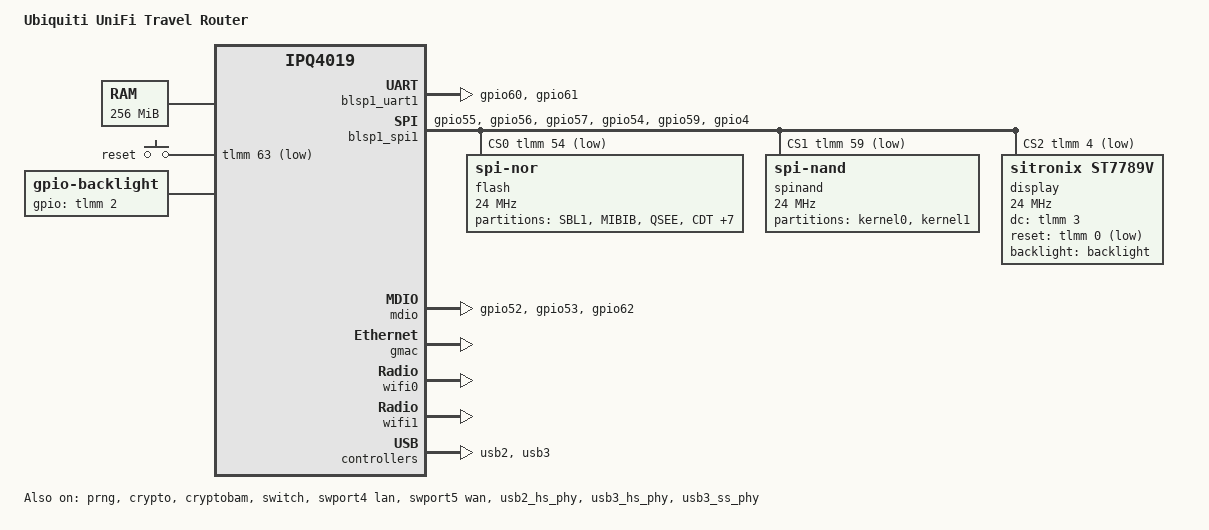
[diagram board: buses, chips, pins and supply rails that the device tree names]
// SPDX-License-Identifier: GPL-2.0-only OR MIT

#include "qcom-ipq4019.dtsi"
#include <dt-bindings/gpio/gpio.h>
#include <dt-bindings/input/input.h>
#include <dt-bindings/leds/common.h>
#include <dt-bindings/soc/qcom,tcsr.h>

/ {
	model = "Ubiquiti UniFi Travel Router";
	compatible = "ubnt,utr", "qcom,ipq4019";

	memory {
		device_type = "memory";
		reg = <0x80000000 0x10000000>;
	};

	chosen {
		bootargs-append = " ubi.mtd=kernel1 root=/dev/ubiblock0_1 rootfstype=squashfs clk_ignore_unused";
	};

	aliases {
		ethernet0 = &gmac;
	};

	soc {
		tcsr@1949000 {
			compatible = "qcom,tcsr";
			reg = <0x1949000 0x100>;
			qcom,wifi_glb_cfg = <TCSR_WIFI_GLB_CFG>;
		};

		ess_tcsr@1953000 {
			compatible = "qcom,tcsr";
			reg = <0x1953000 0x1000>;
			qcom,ess-interface-select = <TCSR_ESS_PSGMII>;
		};

		tcsr@1957000 {
			compatible = "qcom,tcsr";
			reg = <0x1957000 0x100>;
			qcom,wifi_noc_memtype_m0_m2 = <TCSR_WIFI_NOC_MEMTYPE_M0_M2>;
		};
	};

	keys {
		compatible = "gpio-keys";

		reset {
			label = "reset";
			gpios = <&tlmm 63 GPIO_ACTIVE_LOW>;
			linux,code = <KEY_RESTART>;
			linux,input-type = <1>;
		};
	};

	backlight: backlight {
		compatible = "gpio-backlight";
		gpios = <&tlmm 2 GPIO_ACTIVE_HIGH>;
		default-on;
	};
};

&prng {
	status = "okay";
};

&crypto {
	status = "okay";
};

&blsp_dma {
	status = "okay";
};

&cryptobam {
	status = "okay";
};

&blsp1_uart1 {
	pinctrl-0 = <&serial_pins>;
	pinctrl-names = "default";
	status = "okay";
};

&blsp1_spi1 {
	pinctrl-0 = <&spi_0_pins>;
	pinctrl-names = "default";
	status = "okay";

	/*
	 * Vendor DTS used three chip selects on this controller:
	 * CS0 NOR, CS1 SPI NAND, CS2 LCD.
	 */
	cs-gpios = <&tlmm 54 GPIO_ACTIVE_LOW>,
		   <&tlmm 59 GPIO_ACTIVE_LOW>,
		   <&tlmm 4 GPIO_ACTIVE_LOW>;

	flash@0 {
		compatible = "jedec,spi-nor";
		reg = <0>;
		spi-max-frequency = <24000000>;

		partitions {
			compatible = "fixed-partitions";
			#address-cells = <1>;
			#size-cells = <1>;

			partition@0 {
				label = "SBL1";
				reg = <0x0 0x40000>;
				read-only;
			};

			partition@40000 {
				label = "MIBIB";
				reg = <0x40000 0x20000>;
				read-only;
			};

			partition@60000 {
				label = "QSEE";
				reg = <0x60000 0x60000>;
				read-only;
			};

			partition@c0000 {
				label = "CDT";
				reg = <0xc0000 0x10000>;
				read-only;
			};

			partition@d0000 {
				label = "DDRPARAMS";
				reg = <0xd0000 0x10000>;
				read-only;
			};

			partition@e0000 {
				label = "u-boot-env";
				reg = <0xe0000 0x10000>;
			};

			partition@f0000 {
				label = "u-boot";
				reg = <0xf0000 0x1e0000>;
				read-only;
			};

			partition@2d0000 {
				label = "ART";
				reg = <0x2d0000 0x10000>;
				read-only;

				nvmem-layout {
					compatible = "fixed-layout";
					#address-cells = <1>;
					#size-cells = <1>;

					precal_art_1000: precal@1000 {
						reg = <0x1000 0x2f20>;
					};

					precal_art_5000: precal@5000 {
						reg = <0x5000 0x2f20>;
					};
				};
			};

			partition@2e0000 {
				label = "EEPROM";
				reg = <0x2e0000 0x10000>;
				read-only;

				nvmem-layout {
					compatible = "fixed-layout";
					#address-cells = <1>;
					#size-cells = <1>;

					macaddr_gmac0: macaddr@0 {
						compatible = "mac-base";
						reg = <0x0 0x6>;
						#nvmem-cell-cells = <1>;
					};
				};
			};

			partition@2f0000 {
				label = "bs";
				reg = <0x2f0000 0x10000>;
			};

			partition@300000 {
				label = "cfg";
				reg = <0x300000 0x100000>;
			};
		};
	};

	spinand@1 {
		compatible = "spi-nand";
		reg = <1>;
		spi-max-frequency = <24000000>;

		partitions {
			compatible = "fixed-partitions";
			#address-cells = <1>;
			#size-cells = <1>;

			partition@0 {
				label = "kernel0";
				reg = <0x0000000 0x04000000>;
			};

			partition@4000000 {
				label = "kernel1";
				reg = <0x04000000 0x04000000>;
				linux,ubi;
			};
		};
	};

	display@2 {
		compatible = "sitronix,st7789v";
		reg = <2>;
		spi-max-frequency = <24000000>;
		buswidth = <8>;
		dc-gpios = <&tlmm 3 GPIO_ACTIVE_HIGH>;
		reset-gpios = <&tlmm 0 GPIO_ACTIVE_LOW>;	
		backlight = <&backlight>;
	};
};

&tlmm {
	serial_pins: serial_pinmux {
		mux {
			pins = "gpio60", "gpio61";
			function = "blsp_uart0";
			bias-disable;
		};
	};

	spi_0_pins: spi_0_pinmux {
		pinmux {
			function = "blsp_spi0";
			pins = "gpio55", "gpio56", "gpio57";
		};

		/*
		 * Vendor DTS had CS on gpio54, gpio59, and gpio4.
		 */
		pinmux_cs {
			function = "gpio";
			pins = "gpio54", "gpio59", "gpio4";
		};
	};

	mdio_pins: mdio_pins {
		mdc {
			pins = "gpio52";
			function = "mdc";
			bias-pull-up;
		};

		mdio {
			pins = "gpio53";
			function = "mdio";
			bias-pull-up;
		};
	};

	phy_reset_pins: phy_reset_pins {
		phy_reset {
			pins = "gpio62";
			function = "gpio";
			bias-disable;
			output-high;
		};
	};
};

&mdio {
	status = "okay";
	pinctrl-0 = <&mdio_pins>, <&phy_reset_pins>;
	pinctrl-names = "default";
};

&gmac {
	status = "okay";
};

&switch {
	status = "okay";
};

&swport4 {
	status = "okay";
	label = "lan";
	nvmem-cell-names = "mac-address";
	nvmem-cells = <&macaddr_gmac0 1>;
};

&swport5 {
	status = "okay";
	label = "wan";
	nvmem-cell-names = "mac-address";
	nvmem-cells = <&macaddr_gmac0 0>;
};

&wifi0 {
	status = "okay";
	nvmem-cell-names = "pre-calibration";
	nvmem-cells = <&precal_art_1000>;
	qcom,ath10k-calibration-variant = "ap-dk01-c2";
};

&wifi1 {
	status = "okay";
	nvmem-cell-names = "pre-calibration";
	nvmem-cells = <&precal_art_5000>;
	qcom,ath10k-calibration-variant = "ap-dk01-c2";
};

&usb2_hs_phy {
	status = "okay";
};

&usb2 {
	status = "okay";
};

&usb3_hs_phy {
	status = "okay";
};

&usb3_ss_phy {
	status = "okay";
};

&usb3 {
	status = "okay";
};
